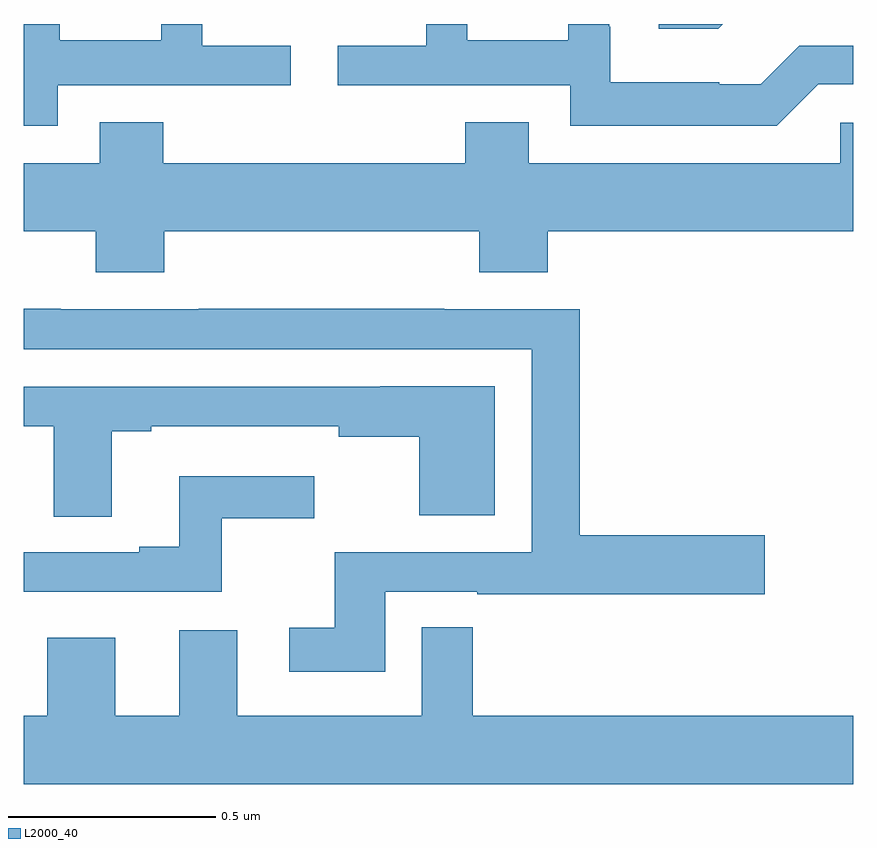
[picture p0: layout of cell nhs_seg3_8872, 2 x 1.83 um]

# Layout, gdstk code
import gdstk
lib = gdstk.Library(unit=1e-6, precision=1e-09)
def P(c, l, *ps):  # polygons
    for p in ps: c.add(gdstk.Polygon(p, *l))
L2000_40 = (2000, 40)

nhs_seg3_8872 = lib.new_cell('nhs_seg3_8872')
P(nhs_seg3_8872, L2000_40, [(222.915,717.255),(223,717.255),(223,717.348),(222.87,717.348),(222.777,717.255),(222.677,717.255),(222.677,717.259),(222.414,717.259),(222.414,717.393),(222.412,717.393),(222.412,717.4),(222.313,717.4),(222.313,717.361),(222.069,717.361),(222.069,717.4),(221.97,717.4),(221.97,717.348),(221.757,717.348),(221.757,717.252),(222.318,717.252),(222.318,717.155),(222.815,717.155)],
  [(221.082,717.252),(221.644,717.252),(221.644,717.348),(221.43,717.348),(221.43,717.4),(221.332,717.4),(221.332,717.361),(221.087,717.361),(221.087,717.4),(221,717.4),(221,717.155),(221.082,717.155)],
  [(222.685,717.4),(222.531,717.4),(222.531,717.389),(222.674,717.389)],
  [(221.339,716.9),(222.098,716.9),(222.098,716.801),(222.263,716.801),(222.263,716.9),(223,716.9),(223,717.162),(222.969,717.162),(222.969,717.064),(222.217,717.064),(222.217,717.163),(222.065,717.163),(222.065,717.064),(221.336,717.064),(221.336,717.163),(221.183,717.163),(221.183,717.064),(221,717.064),(221,716.9),(221.174,716.9),(221.174,716.801),(221.339,716.801)],
  [(221.872,716.031),(222.093,716.031),(222.093,716.026),(222.787,716.026),(222.787,716.168),(222.341,716.168),(222.341,716.712),(222.014,716.712),(222.014,716.714),(221.422,716.714),(221.422,716.712),(221.09,716.712),(221.09,716.714),(221,716.714),(221,716.616),(222.225,716.616),(222.225,716.127),(221.75,716.127),(221.75,715.945),(221.64,715.945),(221.64,715.838),(221.872,715.838)],
  [(221.212,716.418),(221.308,716.418),(221.308,716.43),(221.76,716.43),(221.76,716.405),(221.954,716.405),(221.954,716.216),(222.136,716.216),(222.136,716.527),(221.86,716.527),(221.86,716.526),(221,716.526),(221,716.43),(221.072,716.43),(221.072,716.212),(221.212,716.212)],
  [(221.477,716.209),(221.701,716.209),(221.701,716.31),(221.375,716.31),(221.375,716.14),(221.279,716.14),(221.279,716.127),(221,716.127),(221,716.031),(221.477,716.031)],
  [(223,715.732),(222.082,715.732),(222.082,715.946),(221.96,715.946),(221.96,715.732),(221.515,715.732),(221.515,715.939),(221.375,715.939),(221.375,715.732),(221.221,715.732),(221.221,715.921),(221.057,715.921),(221.057,715.732),(221,715.732),(221,715.568),(223,715.568)])

lib.write_gds('nhs_seg3_8872.gds')
